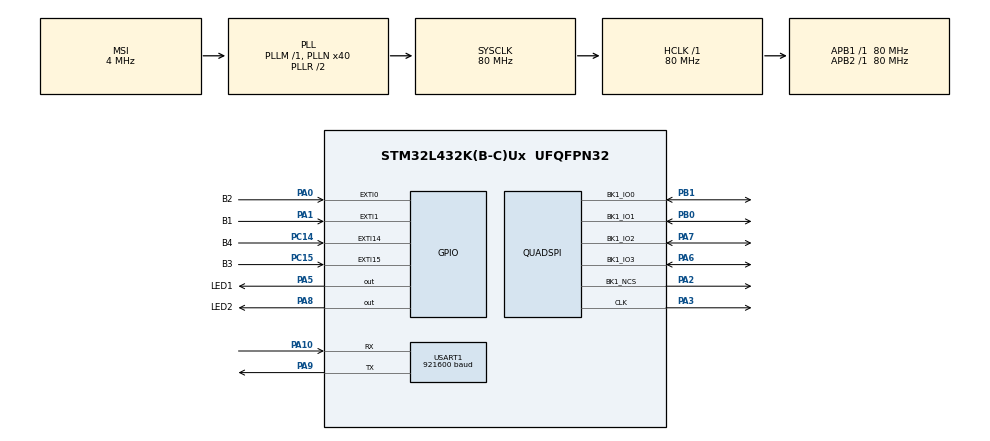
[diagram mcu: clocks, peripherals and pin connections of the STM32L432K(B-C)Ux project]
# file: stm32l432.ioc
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Mcu.Family=STM32L4
Mcu.Name=STM32L432K(B-C)Ux
Mcu.Package=UFQFPN32
NVIC.PriorityGroup=NVIC_PRIORITYGROUP_4
PA0.GPIO_Label=B2
PA0.Signal=GPXTI0
PA1.GPIO_Label=B1
PA1.Signal=GPXTI1
PA10.Mode=Asynchronous
PA10.Signal=USART1_RX
PA13\ (JTMS-SWDIO).Mode=Serial_Wire
PA13\ (JTMS-SWDIO).Signal=SYS_JTMS-SWDIO
PA14\ (JTCK-SWCLK).Mode=Serial_Wire
PA14\ (JTCK-SWCLK).Signal=SYS_JTCK-SWCLK
PA2.Mode=Single Bank 1
PA2.Signal=QUADSPI_BK1_NCS
PA3.Mode=Single Bank 1
PA3.Signal=QUADSPI_CLK
PA5.GPIO_Label=LED1
PA5.GPIO_ModeDefaultOutputPP=GPIO_MODE_OUTPUT_OD
PA5.GPIO_PuPd=GPIO_NOPULL
PA5.PinState=GPIO_PIN_SET
PA5.Signal=GPIO_Output
PA6.Mode=Single Bank 1
PA6.Signal=QUADSPI_BK1_IO3
PA7.Mode=Single Bank 1
PA7.Signal=QUADSPI_BK1_IO2
PA8.GPIO_Label=LED2
PA8.GPIO_ModeDefaultOutputPP=GPIO_MODE_OUTPUT_OD
PA8.GPIO_PuPd=GPIO_NOPULL
PA8.PinState=GPIO_PIN_SET
PA8.Signal=GPIO_Output
PA9.Mode=Asynchronous
PA9.Signal=USART1_TX
PB0.Mode=Single Bank 1
PB0.Signal=QUADSPI_BK1_IO1
PB1.Mode=Single Bank 1
PB1.Signal=QUADSPI_BK1_IO0
PC14-OSC32_IN\ (PC14).GPIO_Label=B4
PC14-OSC32_IN\ (PC14).Signal=GPXTI14
PC15-OSC32_OUT\ (PC15).GPIO_Label=B3
PC15-OSC32_OUT\ (PC15).Signal=GPXTI15
ProjectManager.HeapSize=0x200
ProjectManager.StackSize=0x400
ProjectManager.TargetToolchain=STM32CubeIDE
QUADSPI.ClockPrescaler=10
QUADSPI.FlashSize=24
RCC.AHBFreq_Value=80000000
RCC.APB1Freq_Value=80000000
RCC.APB1TimFreq_Value=80000000
RCC.APB2Freq_Value=80000000
RCC.APB2TimFreq_Value=80000000
RCC.CortexFreq_Value=80000000
RCC.HCLKFreq_Value=80000000
RCC.HSE_VALUE=8000000
RCC.HSI48_VALUE=48000000
RCC.HSI_VALUE=16000000
RCC.LSE_VALUE=32768
RCC.MSI_VALUE=4000000
RCC.PLLN=40
RCC.SYSCLKFreq_VALUE=80000000
RCC.SYSCLKSource=RCC_SYSCLKSOURCE_PLLCLK
RCC.VCOOutputFreq_Value=160000000
USART1.BaudRate=921600
USART1.VirtualMode-Asynchronous=VM_ASYNC
board=custom

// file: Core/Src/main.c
/* USER CODE BEGIN Header */
/**
 ******************************************************************************
 * @file           : main.c
 * @brief          : Main program body
 ******************************************************************************
 * @attention
 *
 * Copyright (c) 2023, 2025 Lars Boegild Thomsen <lbthomsen@gmail.com>
 * All rights reserved.
 *
 * This software is licensed under terms that can be found in the LICENSE file
 * in the root directory of this software component.
 * If no LICENSE file comes with this software, it is provided AS-IS.
 *
 ******************************************************************************
 */
/* USER CODE END Header */
#include "main.h"

/* USER CODE BEGIN Includes */
#include <stdio.h>
#include "w25qxx.h"
/* USER CODE END Includes */

QSPI_HandleTypeDef hqspi;

UART_HandleTypeDef huart1;

void SystemClock_Config(void);
static void MX_GPIO_Init(void);
static void MX_QUADSPI_Init(void);
static void MX_USART1_UART_Init(void);

/* USER CODE BEGIN 0 */

// Send printf to uart1
int _write(int fd, char *ptr, int len) {
    HAL_StatusTypeDef hstatus;

    if (fd == 1 || fd == 2) {
        hstatus = HAL_UART_Transmit(&huart1, (uint8_t*) ptr, len, HAL_MAX_DELAY);
        if (hstatus == HAL_OK)
            return len;
        else
            return -1;
    }
    return -1;
}

/* USER CODE END 0 */

int main(void)
{

  /* MCU Configuration--------------------------------------------------------*/

  /* Reset of all peripherals, Initializes the Flash interface and the Systick. */
  HAL_Init();

  /* Configure the system clock */
  SystemClock_Config();

  /* Initialize all configured peripherals */
  MX_GPIO_Init();
  MX_QUADSPI_Init();
  MX_USART1_UART_Init();
  /* USER CODE BEGIN 2 */

    printf("\n\n-----------\nStarting...\n");

    QSPI_CommandTypeDef sCommand;
    static uint8_t id[17] = { 0 };
    static uint8_t tx_buf[0x10] = "Ext Flash";
    static uint8_t rx_buf[0x10] = { 0 };

    sCommand.DdrMode = QSPI_DDR_MODE_DISABLE;
    sCommand.DdrHoldHalfCycle = QSPI_DDR_HHC_ANALOG_DELAY;
    sCommand.SIOOMode = QSPI_SIOO_INST_EVERY_CMD;

    /***** Read ID operation*****/
    sCommand.Instruction = 0x9F; //READ ID command code
    sCommand.InstructionMode = QSPI_INSTRUCTION_1_LINE; //Command line width
    sCommand.AddressMode = QSPI_ADDRESS_NONE; //Address line width. No address phase
    sCommand.DataMode = QSPI_DATA_1_LINE; //Data line width
    sCommand.NbData = 17; //Read the data length. ID length is 17 bytes
    sCommand.AlternateByteMode = QSPI_ALTERNATE_BYTES_NONE; //No multiplexing byte stage
    sCommand.DummyCycles = 0; //No Dummy phase
    //Configuration command (when there is data stage, the command will be sent in the subsequent sending/receiving API call)
    if (HAL_QSPI_Command(&hqspi, &sCommand, 5000) != HAL_OK) {
        Error_Handler();
    }
    //Execute QSPI reception
    if (HAL_QSPI_Receive(&hqspi, id, 5000) != HAL_OK) {
        Error_Handler();
    }

    /***** Write enable operation (need to make the external memory in the write enable state before block erasing) *****/
    sCommand.Instruction = 0x06; //Write enable command code
    sCommand.InstructionMode = QSPI_INSTRUCTION_1_LINE; //Command line width
    sCommand.AddressMode = QSPI_ADDRESS_NONE; //Address line width. No address phase
    sCommand.DataMode = QSPI_DATA_NONE; //Data line width. No data stage
    sCommand.AlternateByteMode = QSPI_ALTERNATE_BYTES_NONE; //No multiplexing byte stage
    sCommand.DummyCycles = 0; //No Dummy phase
    //Configure sending command
    if (HAL_QSPI_Command(&hqspi, &sCommand, 5000) != HAL_OK) {
        Error_Handler();
    }

    /***** Block erase operation*****/
    sCommand.Instruction = 0xD8; //Sector erase command code
    sCommand.InstructionMode = QSPI_INSTRUCTION_1_LINE; //Command line width
    sCommand.AddressMode = QSPI_ADDRESS_1_LINE; //Address line width. No address phase
    sCommand.AddressSize = QSPI_ADDRESS_24_BITS; //Address length
    sCommand.Address = 0; //Any address in the sector to be erased.
    sCommand.DataMode = QSPI_DATA_NONE; //Data line width. No data stage
    sCommand.AlternateByteMode = QSPI_ALTERNATE_BYTES_NONE; //No multiplexing byte stage
    sCommand.DummyCycles = 0; //No Dummy phase
    //Configure sending command
    if (HAL_QSPI_Command(&hqspi, &sCommand, 5000) != HAL_OK) {
        Error_Handler();
    }
    HAL_Delay(3000); //Delay 3s. The unit is SysTick timer interrupt period

    /***** Write enable operation (need to make the external memory in the write enable state before block erasing) *****/
    sCommand.Instruction = 0x06; //Write enable command code
    sCommand.InstructionMode = QSPI_INSTRUCTION_1_LINE; //Command line width
    sCommand.AddressMode = QSPI_ADDRESS_NONE; //Address line width. No address phase
    sCommand.DataMode = QSPI_DATA_NONE; //Data line width. No data stage
    sCommand.AlternateByteMode = QSPI_ALTERNATE_BYTES_NONE; //No multiplexing byte stage
    sCommand.DummyCycles = 0; //No Dummy phase
    //Configure sending command
    if (HAL_QSPI_Command(&hqspi, &sCommand, 5000) != HAL_OK) {
        Error_Handler();
    }

    /***** Four-wire fast write operation*****/
    sCommand.Instruction = 0x32; //Quick write command code with four lines
    sCommand.InstructionMode = QSPI_INSTRUCTION_1_LINE; //Command line width
    sCommand.AddressMode = QSPI_ADDRESS_1_LINE; //Address line width
    sCommand.AddressSize = QSPI_ADDRESS_24_BITS; //Address length
    sCommand.Address = 0; //Write the starting address
    sCommand.DataMode = QSPI_DATA_4_LINES; //Data line width
    sCommand.NbData = 10; //write data length
    sCommand.AlternateByteMode = QSPI_ALTERNATE_BYTES_NONE; //No multiplexing byte stage
    sCommand.DummyCycles = 0; //No Dummy phase
    //Configuration command (when there is data stage, the command will be sent in the subsequent sending/receiving API call)
    if (HAL_QSPI_Command(&hqspi, &sCommand, 5000) != HAL_OK) {
        Error_Handler();
    }
    //Execute QSPI reception
    if (HAL_QSPI_Transmit(&hqspi, tx_buf, 5000) != HAL_OK) {
        Error_Handler();
    }
    HAL_Delay(5); //Delay 5ms. The unit is SysTick timer interrupt period

    /***** Four-wire fast read operation*****/
    sCommand.Instruction = 0x6B; //Quick read command code with four lines
    sCommand.InstructionMode = QSPI_INSTRUCTION_1_LINE; //Command line width
    sCommand.AddressMode = QSPI_ADDRESS_1_LINE; //Address line width
    sCommand.AddressSize = QSPI_ADDRESS_24_BITS; //Address length
    sCommand.Address = 0; //Start address
    sCommand.DataMode = QSPI_DATA_4_LINES; //Data line width
    sCommand.NbData = 10; //Read data length
    sCommand.AlternateByteMode = QSPI_ALTERNATE_BYTES_NONE; //No multiplexing byte stage
    sCommand.DummyCycles = 8; //Dummy phase. N25Q128A13EF840F

    //Configuration command (when there is data stage, the command will be sent in the subsequent sending/receiving API call)
    if (HAL_QSPI_Command(&hqspi, &sCommand, 5000) != HAL_OK) {
        Error_Handler();
    }
    //Execute QSPI reception
    if (HAL_QSPI_Receive(&hqspi, rx_buf, 5000) != HAL_OK) {
        Error_Handler();
    }

  /* USER CODE END 2 */

  /* Infinite loop */
  /* USER CODE BEGIN WHILE */

    uint32_t now = 0, last_tick = 0;

    while (1) {

        now = HAL_GetTick();

        if (now - last_tick >= 1000) {
            printf("Tick %lu\n", now / 1000);
            last_tick = now;
        }

    /* USER CODE END WHILE */

    }
}

void SystemClock_Config(void)
{
  RCC_OscInitTypeDef RCC_OscInitStruct = {0};
  RCC_ClkInitTypeDef RCC_ClkInitStruct = {0};

  /** Configure the main internal regulator output voltage
  */
  if (HAL_PWREx_ControlVoltageScaling(PWR_REGULATOR_VOLTAGE_SCALE1) != HAL_OK)
  {
    Error_Handler();
  }

  /** Initializes the RCC Oscillators according to the specified parameters
  * in the RCC_OscInitTypeDef structure.
  */
  RCC_OscInitStruct.OscillatorType = RCC_OSCILLATORTYPE_MSI;
  RCC_OscInitStruct.MSIState = RCC_MSI_ON;
  RCC_OscInitStruct.MSICalibrationValue = 0;
  RCC_OscInitStruct.MSIClockRange = RCC_MSIRANGE_6;
  RCC_OscInitStruct.PLL.PLLState = RCC_PLL_ON;
  RCC_OscInitStruct.PLL.PLLSource = RCC_PLLSOURCE_MSI;
  RCC_OscInitStruct.PLL.PLLM = 1;
  RCC_OscInitStruct.PLL.PLLN = 40;
  RCC_OscInitStruct.PLL.PLLP = RCC_PLLP_DIV7;
  RCC_OscInitStruct.PLL.PLLQ = RCC_PLLQ_DIV2;
  RCC_OscInitStruct.PLL.PLLR = RCC_PLLR_DIV2;
  if (HAL_RCC_OscConfig(&RCC_OscInitStruct) != HAL_OK)
  {
    Error_Handler();
  }

  /** Initializes the CPU, AHB and APB buses clocks
  */
  RCC_ClkInitStruct.ClockType = RCC_CLOCKTYPE_HCLK|RCC_CLOCKTYPE_SYSCLK
                              |RCC_CLOCKTYPE_PCLK1|RCC_CLOCKTYPE_PCLK2;
  RCC_ClkInitStruct.SYSCLKSource = RCC_SYSCLKSOURCE_PLLCLK;
  RCC_ClkInitStruct.AHBCLKDivider = RCC_SYSCLK_DIV1;
  RCC_ClkInitStruct.APB1CLKDivider = RCC_HCLK_DIV1;
  RCC_ClkInitStruct.APB2CLKDivider = RCC_HCLK_DIV1;

  if (HAL_RCC_ClockConfig(&RCC_ClkInitStruct, FLASH_LATENCY_4) != HAL_OK)
  {
    Error_Handler();
  }
}

static void MX_QUADSPI_Init(void)
{

  /* QUADSPI parameter configuration*/
  hqspi.Instance = QUADSPI;
  hqspi.Init.ClockPrescaler = 10;
  hqspi.Init.FifoThreshold = 1;
  hqspi.Init.SampleShifting = QSPI_SAMPLE_SHIFTING_NONE;
  hqspi.Init.FlashSize = 24;
  hqspi.Init.ChipSelectHighTime = QSPI_CS_HIGH_TIME_1_CYCLE;
  hqspi.Init.ClockMode = QSPI_CLOCK_MODE_0;
  hqspi.Init.FlashID = QSPI_FLASH_ID_1;
  hqspi.Init.DualFlash = QSPI_DUALFLASH_DISABLE;
  if (HAL_QSPI_Init(&hqspi) != HAL_OK)
  {
    Error_Handler();
  }

}

static void MX_USART1_UART_Init(void)
{

  huart1.Instance = USART1;
  huart1.Init.BaudRate = 921600;
  huart1.Init.WordLength = UART_WORDLENGTH_8B;
  huart1.Init.StopBits = UART_STOPBITS_1;
  huart1.Init.Parity = UART_PARITY_NONE;
  huart1.Init.Mode = UART_MODE_TX_RX;
  huart1.Init.HwFlowCtl = UART_HWCONTROL_NONE;
  huart1.Init.OverSampling = UART_OVERSAMPLING_16;
  huart1.Init.OneBitSampling = UART_ONE_BIT_SAMPLE_DISABLE;
  huart1.AdvancedInit.AdvFeatureInit = UART_ADVFEATURE_NO_INIT;
  if (HAL_UART_Init(&huart1) != HAL_OK)
  {
    Error_Handler();
  }

}

static void MX_GPIO_Init(void)
{
  GPIO_InitTypeDef GPIO_InitStruct = {0};

  /* GPIO Ports Clock Enable */
  __HAL_RCC_GPIOC_CLK_ENABLE();
  __HAL_RCC_GPIOA_CLK_ENABLE();
  __HAL_RCC_GPIOB_CLK_ENABLE();

  /*Configure GPIO pin Output Level */
  HAL_GPIO_WritePin(GPIOA, LED1_Pin|LED2_Pin, GPIO_PIN_SET);

  /*Configure GPIO pins : B4_Pin B3_Pin */
  GPIO_InitStruct.Pin = B4_Pin|B3_Pin;
  GPIO_InitStruct.Mode = GPIO_MODE_IT_RISING;
  GPIO_InitStruct.Pull = GPIO_NOPULL;
  HAL_GPIO_Init(GPIOC, &GPIO_InitStruct);

  /*Configure GPIO pins : B2_Pin B1_Pin */
  GPIO_InitStruct.Pin = B2_Pin|B1_Pin;
  GPIO_InitStruct.Mode = GPIO_MODE_IT_RISING;
  GPIO_InitStruct.Pull = GPIO_NOPULL;
  HAL_GPIO_Init(GPIOA, &GPIO_InitStruct);

  /*Configure GPIO pins : LED1_Pin LED2_Pin */
  GPIO_InitStruct.Pin = LED1_Pin|LED2_Pin;
  GPIO_InitStruct.Mode = GPIO_MODE_OUTPUT_OD;
  GPIO_InitStruct.Pull = GPIO_NOPULL;
  GPIO_InitStruct.Speed = GPIO_SPEED_FREQ_LOW;
  HAL_GPIO_Init(GPIOA, &GPIO_InitStruct);

}

void Error_Handler(void)
{
    __disable_irq();
    while (1) {
    }
}
